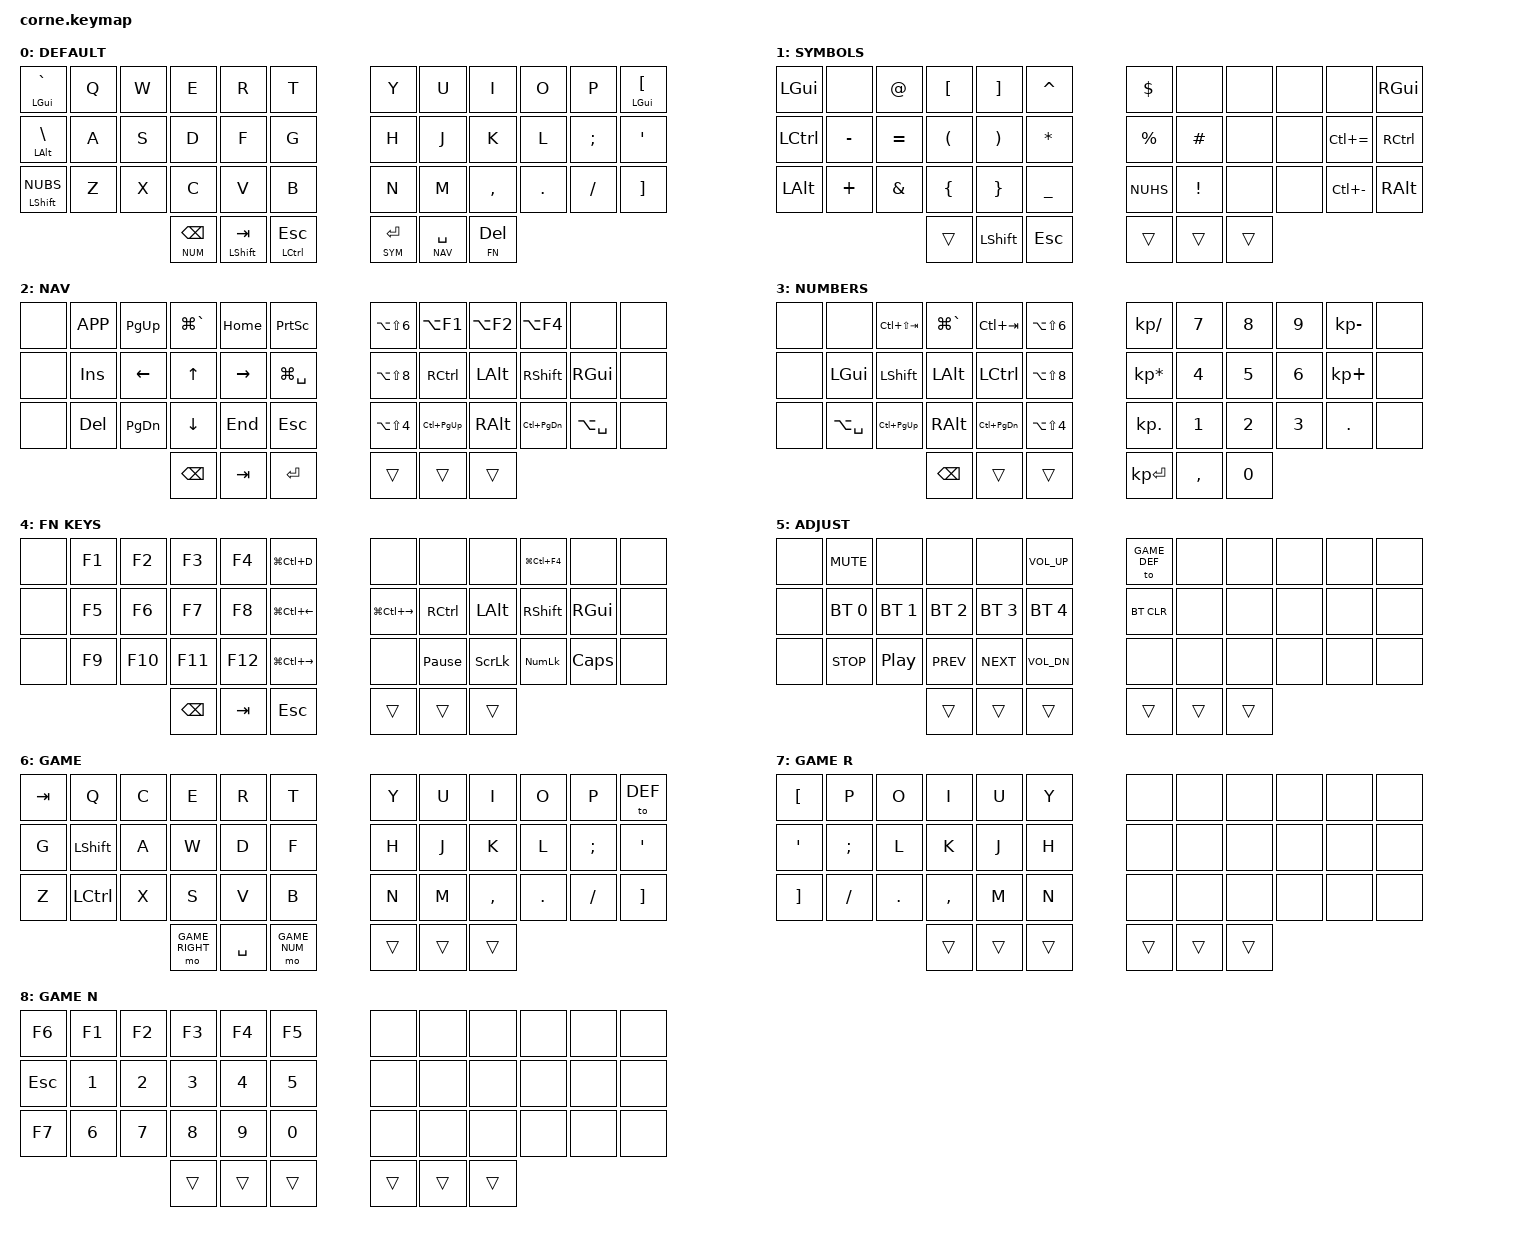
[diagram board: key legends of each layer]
/*
 * Copyright (c) 2020 The ZMK Contributors
 *
 * SPDX-License-Identifier: MIT
 */

#include <behaviors.dtsi>
#include <dt-bindings/zmk/keys.h>
#include <dt-bindings/zmk/bt.h>

#define DEF     0
#define SYM     1
#define NAV     2
#define NUM     3
#define FN      4
#define ADJ     5
#define GAME_DEF        6
#define GAME_RIGHT      7
#define GAME_NUM        8

&mt {
    flavor = "hold-preferred";
    quick-tap-ms = <200>;
};

&lt {
   flavor = "hold-preferred";
   quick-tap-ms = <200>;
};

/ {
        conditional_layers {
            compatible = "zmk,conditional-layers";
            tri_layer {
                if-layers = <SYM NAV>;
                then-layer = <ADJ>;
            };
        };

        // combos {
        //         compatible = "zmk,combos";
        //         combo_en {
        //                 bindings = < &kp LA(LS(N8)) >;
        //                 key-positions = <5 17>;
        //                 timeout-ms = <50>;
        //                 layers = <0>;
        //         };

        //         combo_ru {
        //                 bindings = < &kp LA(LS(N6)) >;
        //                 key-positions = <6 18>;
        //                 timeout-ms = <50>;
        //                 layers = <0>;
        //         };
        // };

        

        keymap {
                compatible = "zmk,keymap";

                default_layer {
                        label = " DEFAULT";
// -----------------------------------------------------------------------------------------
// | LGUI/` |  Q  |  W  |  E  |  R  |  T  |   |  Y  |  U   |  I  |  O  |  P  |  [   |
// | ALT    |  A  |  S  |  D  |  F  |  G  |   |  H  |  J   |  K  |  L  |  ;  |  '   |
// | SHFT   |  Z  |  X  |  C  |  V  |  B  |   |  N  |  M   |  ,  |  .  |  /  |  ]   |
//                | BSP/SHFT | TAB/NUM | ESC/CTRL |     | ENT/SYM | SPACE/NAV  | DEL/FN |
                        bindings = <
   &mt LGUI GRAVE &kp Q &kp W &kp E &kp R &kp T   &kp Y &kp U  &kp I     &kp O   &kp P    &mt LGUI LBKT
   &mt LALT BSLH  &kp A &kp S &kp D &kp F &kp G   &kp H &kp J  &kp K     &kp L   &kp SEMI &kp SQT
   &mt LSHFT NUBS &kp Z &kp X &kp C &kp V &kp B   &kp N &kp M  &kp COMMA &kp DOT &kp FSLH &kp RBKT
                  &lt NUM BSPC &mt LSHFT TAB &mt LCTRL ESC   &lt SYM RET &lt NAV SPACE &lt FN DEL
                        >;
                };

                symbol_layer {
                        label = " SYMBOLS";
                        bindings = <
   &kp LGUI  &none      &kp AT    &kp LBKT  &kp RBKT  &kp CARET      &kp DLLR  &none     &none    &none    &none         &kp RGUI
   &kp LCTRL &kp MINUS  &kp EQUAL &kp LPAR  &kp RPAR  &kp STAR       &kp PRCNT &kp HASH  &none    &none    &kp LC(EQUAL) &kp RCTRL
   &kp LALT  &kp PLUS   &kp AMPS  &kp LBRC  &kp RBRC  &kp UNDER      &kp NUHS  &kp EXCL  &none    &none    &kp LC(MINUS) &kp RALT
                          	  &trans    &kp LSHFT &kp ESC        &trans    &trans    &trans
                        >;
                };

                navigation_layer {
                        label = " NAV";
                        bindings = <
   &none   &kp K_APP &kp PG_UP &kp LG(GRAVE) &kp HOME  &kp PSCRN     &kp LA(LS(N6)) &kp LA(F1)    &kp LA(F2) &kp LA(F4)    &none         &none 
   &none   &kp INS   &kp LEFT  &kp UP        &kp RIGHT &kp LG(SPACE) &kp LA(LS(N8)) &kp RCTRL     &kp LALT   &kp RSHFT     &kp RGUI      &none 
   &none   &kp DEL   &kp PG_DN &kp DOWN      &kp END   &kp ESC       &kp LA(LS(N4)) &kp LC(PG_UP) &kp RALT   &kp LC(PG_DN) &kp LA(SPACE) &none
                               &kp BSPC      &kp TAB   &kp RET       &trans         &trans        &trans
                        >;
                };

                number_layer {
                        label = " NUMBERS";
                        bindings = <
   &none &none         &kp LC(LS(TAB)) &kp LG(GRAVE) &kp LC(TAB)   &kp LA(LS(N6)) &kp KP_SLASH    &kp N7  &kp N8 &kp N9 &kp KP_MINUS &none 
   &none &kp LGUI      &kp LSHFT       &kp LALT      &kp LCTRL     &kp LA(LS(N8)) &kp KP_MULTIPLY &kp N4  &kp N5 &kp N6 &kp KP_PLUS  &none 
   &none &kp LA(SPACE) &kp LC(PG_UP)   &kp RALT      &kp LC(PG_DN) &kp LA(LS(N4)) &kp KP_DOT      &kp N1  &kp N2 &kp N3 &kp DOT      &none 
                          	        &kp BSPC     &trans        &trans         &kp KP_ENTER    &kp COMMA   &kp N0
                        >;
                };

                fn_layer {
                        label = " FN KEYS";
                        bindings = <
   &none  &kp F1   &kp F2   &kp F3   &kp F4   &kp LG(LC(D))        &none             &none            &none     &kp LG(LC(F4)) &none     &none 
   &none  &kp F5   &kp F6   &kp F7   &kp F8   &kp LG(LC(LEFT))     &kp LG(LC(RIGHT)) &kp RCTRL        &kp LALT  &kp RSHFT      &kp RGUI  &none 
   &none  &kp F9   &kp F10  &kp F11  &kp F12  &kp LG(LC(RIGHT))    &none             &kp PAUSE_BREAK  &kp SLCK  &kp KP_NUM     &kp CAPS  &none 
                            &kp BSPC &kp TAB  &kp ESC              &trans            &trans           &trans
                        >;
                };

                adjust_layer {
                        label = " ADJUST";
                        bindings = <
   &none   &kp C_MUTE   &none        &none        &none        &kp C_VOL_UP   &to GAME_DEF  &none    &none   &none   &none  &none 
   &none   &bt BT_SEL 0 &bt BT_SEL 1 &bt BT_SEL 2 &bt BT_SEL 3 &bt BT_SEL 4   &bt BT_CLR    &none    &none   &none   &none  &none 
   &none   &kp C_STOP   &kp C_PP     &kp C_PREV   &kp C_NEXT   &kp C_VOL_DN   &none         &none    &none   &none   &none  &none 
                                     &trans       &trans       &trans         &trans        &trans   &trans
                        >;
                };
// GAME layers
                game_default_layer {
                        label = " GAME";
                        bindings = <
   &kp TAB &kp Q     &kp C &kp E &kp R &kp T                    &kp Y &kp U  &kp I     &kp O   &kp P    &to DEF
   &kp G   &kp LSHFT &kp A &kp W &kp D &kp F                    &kp H &kp J  &kp K     &kp L   &kp SEMI &kp SQT
   &kp Z   &kp LCTRL &kp X &kp S &kp V &kp B                    &kp N &kp M  &kp COMMA &kp DOT &kp FSLH &kp RBKT
                  &mo GAME_RIGHT &kp SPACE &mo GAME_NUM         &trans   &trans   &trans
                        >;
                };

                game_right_layer {
                        label = " GAME R";
                        bindings = <
   &kp LBKT   &kp P     &kp O    &kp I     &kp U   &kp Y          &none    &none    &none   &none   &none  &none
   &kp SQT    &kp SEMI  &kp L    &kp K     &kp J   &kp H          &none    &none    &none   &none   &none  &none 
   &kp RBKT   &kp FSLH  &kp DOT  &kp COMMA &kp M   &kp N          &none    &none    &none   &none   &none  &none 
                                 &trans    &trans  &trans         &trans   &trans   &trans
                        >;
                };

                game_num_layer {
                        label = " GAME N";
                        bindings = <
   &kp F6   &kp F1  &kp F2   &kp F3   &kp F4   &kp F5             &none    &none    &none   &none   &none  &none
   &kp ESC  &kp N1  &kp N2   &kp N3   &kp N4   &kp N5             &none    &none    &none   &none   &none  &none 
   &kp F7   &kp N6  &kp N7   &kp N8   &kp N9   &kp N0             &none    &none    &none   &none   &none  &none 
                             &trans   &trans   &trans             &trans   &trans   &trans
                        >;
                };
        };
};
